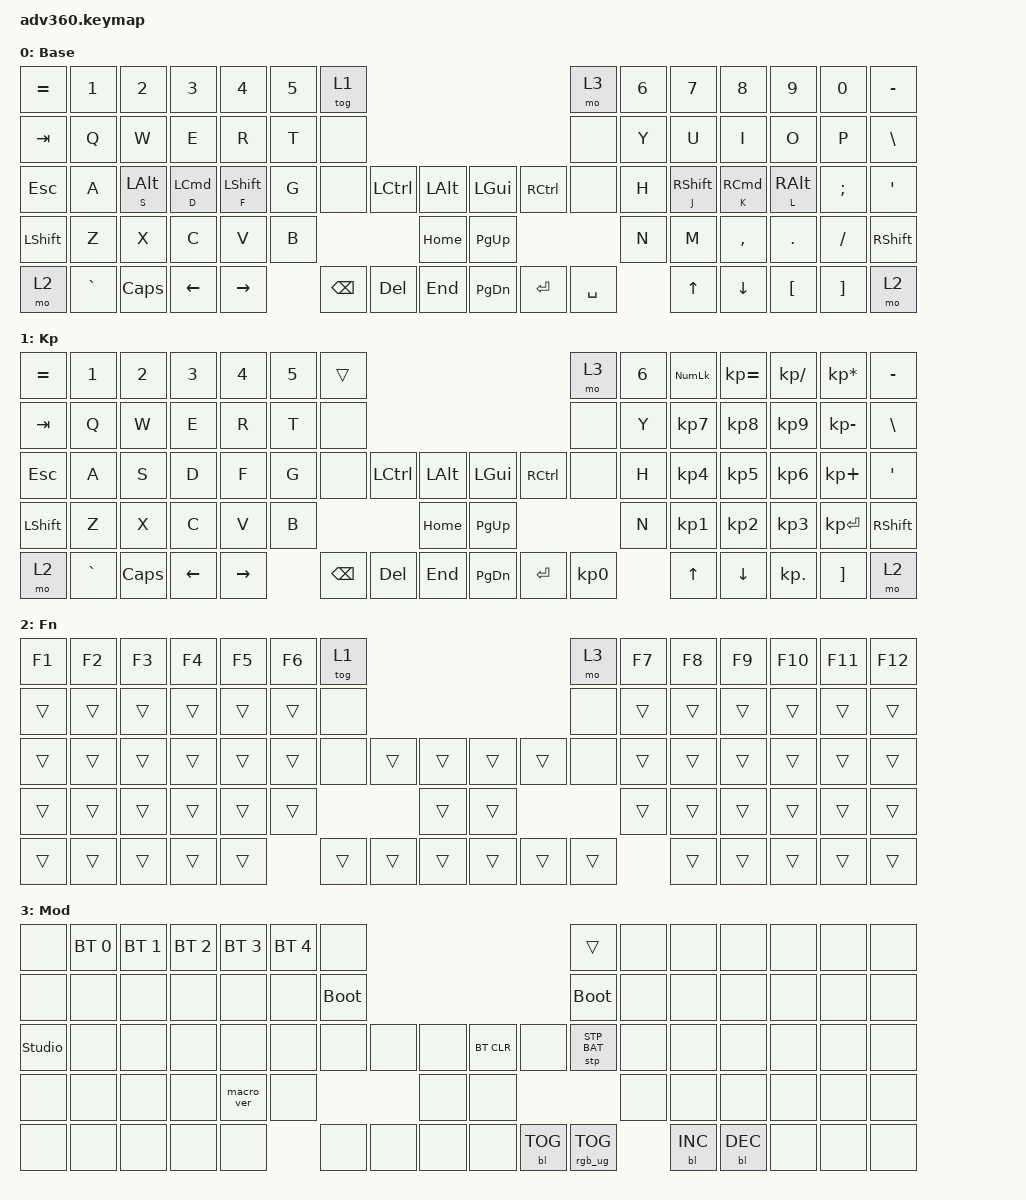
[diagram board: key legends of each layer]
#include <dt-bindings/zmk/stp.h>
#include <behaviors.dtsi>
#include <dt-bindings/zmk/backlight.h>
#include <dt-bindings/zmk/bt.h>
#include <dt-bindings/zmk/keys.h>
#include <dt-bindings/zmk/rgb.h>

/ {
    behaviors {
        #include "macros.dtsi"
      #include "version.dtsi"

        hm: homerow_mods {
            compatible = "zmk,behavior-hold-tap";
            label = "HOMEROW_MODS";
            #binding-cells = <2>;
            tapping-term-ms = <200>;
            quick_tap_ms = <175>;
            flavor = "tap-preferred";
            bindings = <&kp>, <&kp>;
        };

        hrShiftRight: hrShiftRight {
            compatible = "zmk,behavior-hold-tap";
            label = "HRSHIFTRIGHT";
            #binding-cells = <2>;
            tapping-term-ms = <200>;
            quick_tap_ms = <175>;
            flavor = "hold-preferred";
            bindings = <&kp>, <&kp>;

            hold-while-undecided;
            hold-trigger-on-release;
            hold-trigger-key-positions = <0 1 2 3 4 5 6 14 15 16 17 18 19 20 28 29 30 31 32 33 34 35 36 46 47 48 49 50 51 52 60 61 62 63 64 65 66 67>;
        };

        hrShiftLeft: hrShiftLeft {
            compatible = "zmk,behavior-hold-tap";
            label = "HRSHIFTLEFT";
            #binding-cells = <2>;
            tapping-term-ms = <200>;
            quick_tap_ms = <175>;
            flavor = "hold-preferred";
            bindings = <&kp>, <&kp>;

            hold-while-undecided;
            hold-trigger-on-release;
            hold-trigger-key-positions = <12 13 21 22 23 24 25 26 27 37 38 39 40 41 42 43 44 45 53 54 55 56 57 58 59 68 69 70 71 72 73 74 75 7 8 9 10 11>;
        };

        hrRight: hrRight {
            compatible = "zmk,behavior-hold-tap";
            label = "HRRIGHT";
            #binding-cells = <2>;
            tapping-term-ms = <200>;
            quick_tap_ms = <175>;
            flavor = "tap-preferred";
            bindings = <&kp>, <&kp>;

            hold-while-undecided;
            hold-trigger-on-release;
            hold-trigger-key-positions = <0 1 2 3 4 5 6 14 15 16 17 18 19 20 28 29 30 31 32 33 34 35 36 46 47 48 49 50 51 52 60 61 62 63 64 65 66 67>;
        };

        hrLeft: hrLeft {
            compatible = "zmk,behavior-hold-tap";
            label = "HRLEFT";
            #binding-cells = <2>;
            tapping-term-ms = <200>;
            quick_tap_ms = <175>;
            flavor = "tap-preferred";
            bindings = <&kp>, <&kp>;

            hold-while-undecided;
            hold-trigger-on-release;
            hold-trigger-key-positions = <12 13 21 22 23 24 25 26 27 37 38 39 40 41 42 43 44 45 53 54 55 56 57 58 59 68 69 70 71 72 73 74 75 7 8 9 10 11>;
        };
    };

    keymap {
        compatible = "zmk,keymap";

        default_layer {
            display-name = "Base";
            bindings = <
&kp EQUAL  &kp N1     &kp N2              &kp N3                  &kp N4                     &kp N5  &tog 1                                                   &mo 3      &kp N6  &kp N7                       &kp N8                    &kp N9                &kp N0    &kp MINUS
&kp TAB    &kp Q      &kp W               &kp E                   &kp R                      &kp T   &none                                                    &none      &kp Y   &kp U                        &kp I                     &kp O                 &kp P     &kp BSLH
&kp ESC    &kp A      &hrLeft S LEFT_ALT  &hrLeft D LEFT_COMMAND  &hrShiftLeft F LEFT_SHIFT  &kp G   &none     &kp LCTRL  &kp LALT      &kp LGUI   &kp RCTRL  &none      &kp H   &hrShiftRight J RIGHT_SHIFT  &hrRight K RIGHT_COMMAND  &hrRight L RIGHT_ALT  &kp SEMI  &kp SQT
&kp LSHFT  &kp Z      &kp X               &kp C                   &kp V                      &kp B                        &kp HOME      &kp PG_UP                        &kp N   &kp M                        &kp COMMA                 &kp DOT               &kp FSLH  &kp RSHFT
&mo 2      &kp GRAVE  &kp CAPS            &kp LEFT                &kp RIGHT                          &kp BSPC  &kp DEL    &kp END       &kp PG_DN  &kp ENTER  &kp SPACE          &kp UP                       &kp DOWN                  &kp LBKT              &kp RBKT  &mo 2
            >;
        };

        keypad {
            display-name = "Kp";
            bindings = <
&kp EQUAL  &kp N1     &kp N2    &kp N3    &kp N4     &kp N5  &trans                                                   &mo 3      &kp N6  &kp KP_NUM  &kp KP_EQUAL  &kp KP_DIVIDE  &kp KP_MULTIPLY  &kp MINUS
&kp TAB    &kp Q      &kp W     &kp E     &kp R      &kp T   &none                                                    &none      &kp Y   &kp KP_N7   &kp KP_N8     &kp KP_N9      &kp KP_MINUS     &kp BSLH
&kp ESC    &kp A      &kp S     &kp D     &kp F      &kp G   &none     &kp LCTRL  &kp LALT      &kp LGUI   &kp RCTRL  &none      &kp H   &kp KP_N4   &kp KP_N5     &kp KP_N6      &kp KP_PLUS      &kp SQT
&kp LSHFT  &kp Z      &kp X     &kp C     &kp V      &kp B                        &kp HOME      &kp PG_UP                        &kp N   &kp KP_N1   &kp KP_N2     &kp KP_N3      &kp KP_ENTER     &kp RSHFT
&mo 2      &kp GRAVE  &kp CAPS  &kp LEFT  &kp RIGHT          &kp BSPC  &kp DEL    &kp END       &kp PG_DN  &kp ENTER  &kp KP_N0          &kp UP      &kp DOWN      &kp KP_DOT     &kp RBKT         &mo 2
            >;
        };

        fn {
            display-name = "Fn";
            bindings = <
&kp F1  &kp F2  &kp F3  &kp F4  &kp F5  &kp F6  &tog 1                                      &mo 3   &kp F7  &kp F8  &kp F9  &kp F10  &kp F11  &kp F12
&trans  &trans  &trans  &trans  &trans  &trans  &none                                       &none   &trans  &trans  &trans  &trans   &trans   &trans
&trans  &trans  &trans  &trans  &trans  &trans  &none   &trans  &trans      &trans  &trans  &none   &trans  &trans  &trans  &trans   &trans   &trans
&trans  &trans  &trans  &trans  &trans  &trans                  &trans      &trans                  &trans  &trans  &trans  &trans   &trans   &trans
&trans  &trans  &trans  &trans  &trans          &trans  &trans  &trans      &trans  &trans  &trans          &trans  &trans  &trans   &trans   &trans
            >;
        };

        mod {
            display-name = "Mod";
            bindings = <
&none           &bt BT_SEL 0  &bt BT_SEL 1  &bt BT_SEL 2  &bt BT_SEL 3  &bt BT_SEL 4  &none                                                  &trans           &none  &none       &none       &none  &none  &none
&none           &none         &none         &none         &none         &none         &bootloader                                            &bootloader      &none  &none       &none       &none  &none  &none
&studio_unlock  &none         &none         &none         &none         &none         &none        &none  &none      &bt BT_CLR  &none       &stp STP_BAT     &none  &none       &none       &none  &none  &none
&none           &none         &none         &none         &macro_ver    &none                             &none      &none                                    &none  &none       &none       &none  &none  &none
&none           &none         &none         &none         &none                       &none        &none  &none      &none       &bl BL_TOG  &rgb_ug RGB_TOG         &bl BL_INC  &bl BL_DEC  &none  &none  &none
            >;
        };

        extra1 {
            display-name = "Red";
            status = "reserved";
        };

        extra2 {
            display-name = "Purple";
            status = "reserved";
        };

        extra3 {
            display-name = "Cyan";
            status = "reserved";
        };

        extra4 {
            display-name = "Yellow";
            status = "reserved";
        };
    };
};
